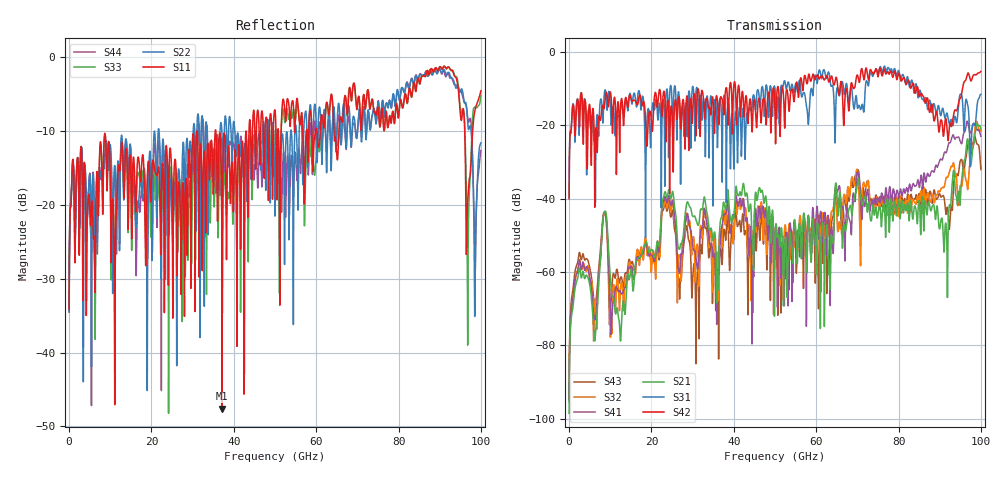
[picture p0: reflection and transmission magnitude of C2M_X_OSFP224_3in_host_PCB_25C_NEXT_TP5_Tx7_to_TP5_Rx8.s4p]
# GHz S RI R 45
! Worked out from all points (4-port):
!   4000 points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, 25 MHz to 100 GHz, reference 45 ohm
!   strongest paths, dB at 25 MHz, 25.02 GHz, 50.02 GHz, 75.03 GHz, 100 GHz:
!     S42: -40.0, -16.5, -18.0, -6.8, -5.3
!     S31: -39.7, -14.6, -10.1, -5.9, -11.6
!     S21: -98.5, -38.5, -53.1, -44.2, -21.0
!     S41: -95.5, -40.7, -50.7, -39.9, -23.0
!     S32: -94.8, -40.7, -48.4, -40.2, -21.7
!     S43: -93.2, -43.4, -49.4, -41.7, -32.1
!   lowest |S11| = -47.6 dB at 37.17 GHz (marker M1), VSWR 1.01, Z = 45.4 - j0.133 ohm
!   |S11| at or under -10 dB: start of sweep to 31.03 GHz; 31.1 GHz to 35.5 GHz (4.396 GHz wide, 13.2 % of centre); 35.65 GHz to 42.96 GHz (7.31 GHz wide, 18.6 % of centre) (the widest 3 of 19)
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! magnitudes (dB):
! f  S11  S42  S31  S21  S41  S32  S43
! 25 MHz  -34.1  -40.0  -39.7  -98.5  -95.5  -94.8  -93.2
! 6.4 GHz  -28.4  -22.9  -41.1  -77.4  -72.6  -67.6  -68.1
! 8.55 GHz  -10.9  -15.3  -11.6  -43.7  -43.7  -43.9  -43.8
! 12.38 GHz  -15.3  -21.2  -16.7  -76.8  -65.1  -67.6  -62.2
! 37.17 GHz  -47.6  -12.9  -35.5  -44.1  -47.3  -51.0  -58.0
! 91.47 GHz  -1.4  -18.1  -17.6  -46.7  -27.5  -34.7  -44.1
! 100 GHz  -4.5  -5.3  -11.6  -21.0  -23.0  -21.7  -32.1
